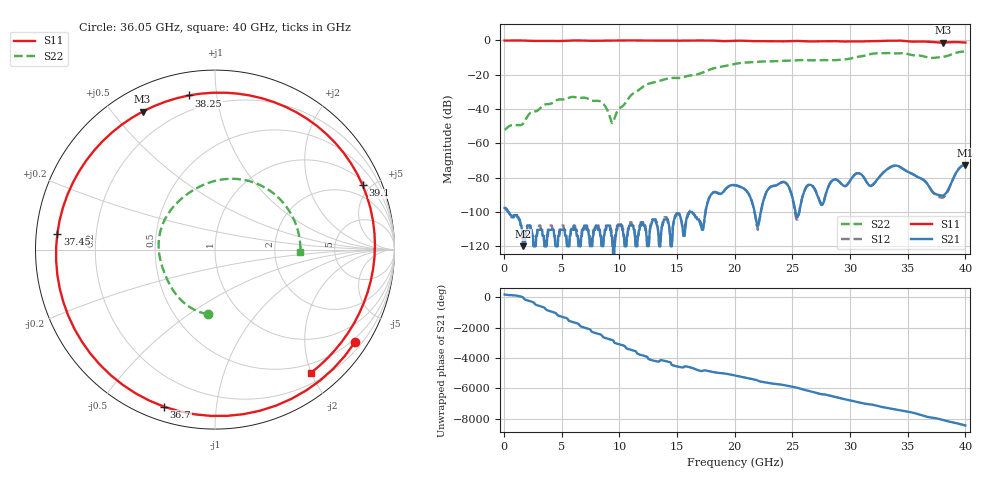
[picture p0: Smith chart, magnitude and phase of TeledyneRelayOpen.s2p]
! C:\Work\SPARQ2\Technical\Relays\TeledyneRelayOpen.s2p
! Tue Aug  7 09:52:37 2018
!!Measured using LeCroy SPARQ LCRY2401N02001
!SingleEnded
! freq S11 S21 S12 S22
# MHz S MA R 50.00
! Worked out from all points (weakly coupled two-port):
!   800 points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, 50 MHz to 40 GHz, reference 50 ohm
!   highest |S21| = -72.58 dB at 39.95 GHz (marker M1); lowest = -120.0 dB at 1.65 GHz (marker M2)
!   lowest |S11| = -1.2 dB at 38.05 GHz (marker M3), VSWR 14.17, Z = 4.81 + j30 ohm
!   |S11| at or under -10 dB: nowhere
!   |S22| runs from -52.0 to -6.4 dB; largest |S21 - S12| = 2.2e-05
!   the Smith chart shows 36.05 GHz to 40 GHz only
!   S11 on the Smith chart (normalised r, x): 36.05 GHz: 0.40, -3.28; 36.7 GHz: 0.06, -0.72; 37.45 GHz: 0.06, +0.05; 38.25 GHz: 0.12, +0.84; 39.1 GHz: 1.22, +4.49; 40 GHz: 0.35, -1.99
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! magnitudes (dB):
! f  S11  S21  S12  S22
! 50 MHz  -0.1  -97.7  -97.7  -52.0
! 1.65 GHz  -0.1  -120.0  -120.0  -48.6
! 3.5 GHz  -0.2  -120.0  -120.0  -37.5
! 6.75 GHz  0.0  -114.0  -110.5  -33.4
! 8.45 GHz  -0.1  -120.0  -120.0  -36.0
! 9.4 GHz  0.0  -120.0  -114.0  -48.2
! 11.1 GHz  0.0  -108.0  -108.0  -31.4
! 13.4 GHz  -0.1  -114.0  -114.0  -23.7
! 20.05 GHz  -0.2  -84.4  -84.6  -13.7
! 26.7 GHz  -0.6  -84.7  -84.4  -11.6
! 30.7 GHz  -0.6  -77.4  -77.4  -9.5
! 32.3 GHz  -0.4  -81.6  -81.7  -7.5
! 33.35 GHz  -0.2  -74.5  -74.6  -7.3
! 34.15 GHz  -0.1  -73.2  -73.4  -7.5
! 36.05 GHz  -0.6  -80.2  -80.3  -8.8
! 36.7 GHz  -0.7  -83.6  -83.7  -9.8
! 37.45 GHz  -1.1  -89.6  -89.9  -10.0
! 38.05 GHz  -1.2  -90.5  -91.7  -9.6
! 38.25 GHz  -1.2  -89.6  -90.8  -9.3
! 39.1 GHz  -0.9  -78.4  -78.3  -7.4
! 39.95 GHz  -1.2  -72.6  -72.5  -6.4
! 40 GHz  -1.2  -72.6  -72.5  -6.4
